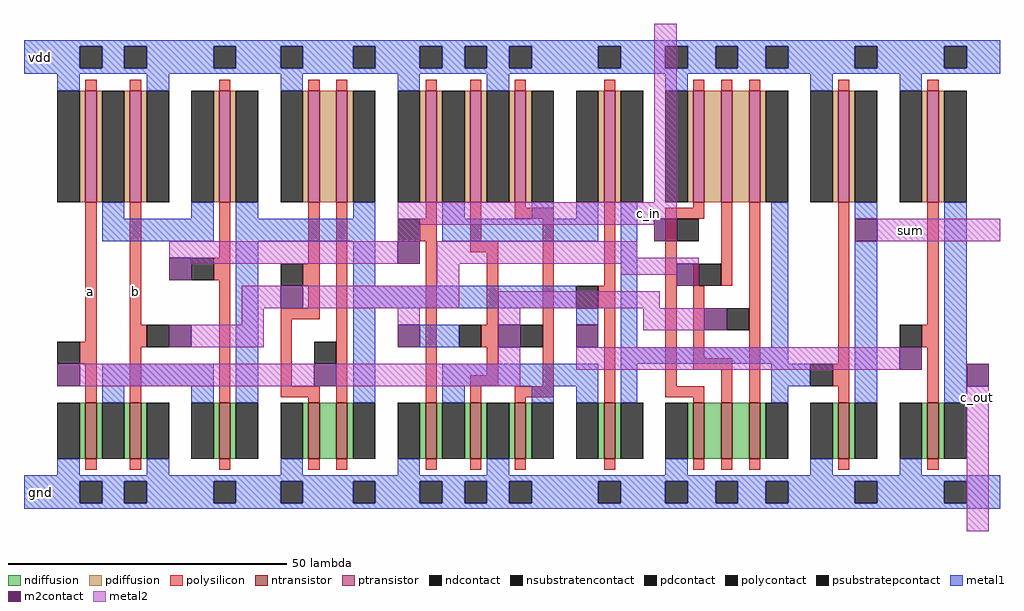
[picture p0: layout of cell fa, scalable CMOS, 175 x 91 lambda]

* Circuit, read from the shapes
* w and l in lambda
.subckt fa a b c_in c_out gnd sum vdd
M1 n1 a gnd gnd nfet w=10 l=2
M2 gnd b n1 gnd nfet w=10 l=2
M3 n2 c_in n1 gnd nfet w=10 l=2
M4 n3 b gnd gnd nfet w=10 l=2
M5 n2 a n3 gnd nfet w=10 l=2
M6 n4 c_in gnd gnd nfet w=10 l=2
M7 gnd b n4 gnd nfet w=10 l=2
M8 n4 a gnd gnd nfet w=10 l=2
M9 n5 n2 n4 gnd nfet w=10 l=2
M10 n6 c_in gnd gnd nfet w=10 l=2
M11 n7 b n6 gnd nfet w=10 l=2
M12 n5 a n7 gnd nfet w=10 l=2
M13 sum n5 gnd gnd nfet w=10 l=2
M14 c_out n2 gnd gnd nfet w=10 l=2
M15 n8 a vdd vdd pfet w=20 l=2
M16 vdd b n8 vdd pfet w=20 l=2
M17 n2 c_in n8 vdd pfet w=20 l=2
M18 n9 b vdd vdd pfet w=20 l=2
M19 n2 a n9 vdd pfet w=20 l=2
M20 n10 c_in vdd vdd pfet w=20 l=2
M21 vdd b n10 vdd pfet w=20 l=2
M22 n10 a vdd vdd pfet w=20 l=2
M23 n5 n2 n10 vdd pfet w=20 l=2
M24 n11 c_in vdd vdd pfet w=20 l=2
M25 n12 b n11 vdd pfet w=20 l=2
M26 n5 a n12 vdd pfet w=20 l=2
M27 sum n5 vdd vdd pfet w=20 l=2
M28 c_out n2 vdd vdd pfet w=20 l=2
.ends

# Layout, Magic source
magic
tech scmos
<< ntransistor >>
rect 11 9 13 19
rect 19 9 21 19
rect 35 9 37 19
rect 51 9 53 19
rect 56 9 58 19
rect 72 9 74 19
rect 80 9 82 19
rect 88 9 90 19
rect 104 9 106 19
rect 120 9 122 19
rect 125 9 127 19
rect 130 9 132 19
rect 146 9 148 19
rect 162 9 164 19
<< ptransistor >>
rect 11 55 13 75
rect 19 55 21 75
rect 35 55 37 75
rect 51 55 53 75
rect 56 55 58 75
rect 72 55 74 75
rect 80 55 82 75
rect 88 55 90 75
rect 104 55 106 75
rect 120 55 122 75
rect 125 55 127 75
rect 130 55 132 75
rect 146 55 148 75
rect 162 55 164 75
<< ndiffusion >>
rect 10 9 11 19
rect 13 9 14 19
rect 18 9 19 19
rect 21 9 22 19
rect 34 9 35 19
rect 37 9 38 19
rect 50 9 51 19
rect 53 9 56 19
rect 58 9 59 19
rect 71 9 72 19
rect 74 9 75 19
rect 79 9 80 19
rect 82 9 83 19
rect 87 9 88 19
rect 90 9 91 19
rect 103 9 104 19
rect 106 9 107 19
rect 119 9 120 19
rect 122 9 125 19
rect 127 9 130 19
rect 132 9 133 19
rect 145 9 146 19
rect 148 9 149 19
rect 161 9 162 19
rect 164 9 165 19
<< pdiffusion >>
rect 10 55 11 75
rect 13 55 14 75
rect 18 55 19 75
rect 21 55 22 75
rect 34 55 35 75
rect 37 55 38 75
rect 50 55 51 75
rect 53 55 56 75
rect 58 55 59 75
rect 71 55 72 75
rect 74 55 75 75
rect 79 55 80 75
rect 82 55 83 75
rect 87 55 88 75
rect 90 55 91 75
rect 103 55 104 75
rect 106 55 107 75
rect 119 55 120 75
rect 122 55 125 75
rect 127 55 130 75
rect 132 55 133 75
rect 145 55 146 75
rect 148 55 149 75
rect 161 55 162 75
rect 164 55 165 75
<< ndcontact >>
rect 6 9 10 19
rect 14 9 18 19
rect 22 9 26 19
rect 30 9 34 19
rect 38 9 42 19
rect 46 9 50 19
rect 59 9 63 19
rect 67 9 71 19
rect 75 9 79 19
rect 83 9 87 19
rect 91 9 95 19
rect 99 9 103 19
rect 107 9 111 19
rect 115 9 119 19
rect 133 9 137 19
rect 141 9 145 19
rect 149 9 153 19
rect 157 9 161 19
rect 165 9 169 19
<< pdcontact >>
rect 6 55 10 75
rect 14 55 18 75
rect 22 55 26 75
rect 30 55 34 75
rect 38 55 42 75
rect 46 55 50 75
rect 59 55 63 75
rect 67 55 71 75
rect 75 55 79 75
rect 83 55 87 75
rect 91 55 95 75
rect 99 55 103 75
rect 107 55 111 75
rect 115 55 119 75
rect 133 55 137 75
rect 141 55 145 75
rect 149 55 153 75
rect 157 55 161 75
rect 165 55 169 75
<< psubstratepcontact >>
rect 10 1 14 5
rect 18 1 22 5
rect 34 1 38 5
rect 46 1 50 5
rect 59 1 63 5
rect 71 1 75 5
rect 79 1 83 5
rect 87 1 91 5
rect 103 1 107 5
rect 115 1 119 5
rect 124 1 128 5
rect 133 1 137 5
rect 149 1 153 5
rect 165 1 169 5
<< nsubstratencontact >>
rect 10 79 14 83
rect 18 79 22 83
rect 34 79 38 83
rect 46 79 50 83
rect 59 79 63 83
rect 71 79 75 83
rect 79 79 83 83
rect 87 79 91 83
rect 103 79 107 83
rect 115 79 119 83
rect 124 79 128 83
rect 133 79 137 83
rect 149 79 153 83
rect 165 79 169 83
<< polysilicon >>
rect 11 75 13 77
rect 19 75 21 77
rect 35 75 37 77
rect 51 75 53 77
rect 56 75 58 77
rect 72 75 74 77
rect 80 75 82 77
rect 88 75 90 77
rect 104 75 106 77
rect 120 75 122 77
rect 125 75 127 77
rect 130 75 132 77
rect 146 75 148 77
rect 162 75 164 77
rect 11 30 13 55
rect 10 26 13 30
rect 11 19 13 26
rect 19 33 21 55
rect 35 45 37 55
rect 34 41 37 45
rect 51 44 53 55
rect 19 29 22 33
rect 19 19 21 29
rect 35 19 37 41
rect 50 40 53 44
rect 51 36 53 40
rect 46 34 53 36
rect 46 22 48 34
rect 46 20 53 22
rect 51 19 53 20
rect 56 19 58 55
rect 72 52 74 55
rect 71 48 74 52
rect 72 19 74 48
rect 80 48 82 55
rect 88 54 90 55
rect 88 52 95 54
rect 80 46 85 48
rect 83 33 85 46
rect 82 29 85 33
rect 83 24 85 29
rect 80 22 85 24
rect 93 22 95 52
rect 104 40 106 55
rect 120 54 122 55
rect 103 36 106 40
rect 80 19 82 22
rect 88 20 95 22
rect 88 19 90 20
rect 104 19 106 36
rect 115 52 122 54
rect 115 22 117 52
rect 120 40 121 44
rect 125 40 127 55
rect 120 27 122 40
rect 120 25 127 27
rect 115 20 122 22
rect 120 19 122 20
rect 125 19 127 25
rect 130 19 132 55
rect 146 26 148 55
rect 162 33 164 55
rect 161 29 164 33
rect 145 22 148 26
rect 146 19 148 22
rect 162 19 164 29
rect 11 7 13 9
rect 19 7 21 9
rect 35 7 37 9
rect 51 7 53 9
rect 56 7 58 9
rect 72 7 74 9
rect 80 7 82 9
rect 88 7 90 9
rect 104 7 106 9
rect 120 7 122 9
rect 125 7 127 9
rect 130 7 132 9
rect 146 7 148 9
rect 162 7 164 9
<< polycontact >>
rect 6 26 10 30
rect 30 41 34 45
rect 22 29 26 33
rect 46 40 50 44
rect 52 26 56 30
rect 67 48 71 52
rect 78 29 82 33
rect 89 29 93 33
rect 99 36 103 40
rect 117 48 121 52
rect 121 40 125 44
rect 126 32 130 36
rect 157 29 161 33
rect 141 22 145 26
<< metal1 >>
rect 0 83 175 84
rect 0 79 10 83
rect 14 79 18 83
rect 22 79 34 83
rect 38 79 46 83
rect 50 79 59 83
rect 63 79 71 83
rect 75 79 79 83
rect 83 79 87 83
rect 91 79 103 83
rect 107 79 115 83
rect 119 79 124 83
rect 128 79 133 83
rect 137 79 149 83
rect 153 79 165 83
rect 169 79 175 83
rect 0 78 175 79
rect 6 75 10 78
rect 22 75 26 78
rect 46 75 50 78
rect 67 75 71 78
rect 83 75 87 78
rect 115 75 119 78
rect 141 75 145 78
rect 157 75 161 78
rect 14 52 18 55
rect 30 52 34 55
rect 14 48 34 52
rect 38 52 42 55
rect 59 52 63 55
rect 75 52 79 55
rect 91 52 95 55
rect 99 52 103 55
rect 38 48 63 52
rect 14 22 34 26
rect 14 19 18 22
rect 30 19 34 22
rect 38 19 42 48
rect 59 40 63 48
rect 75 48 103 52
rect 59 36 99 40
rect 59 19 63 36
rect 99 33 103 36
rect 71 29 78 33
rect 107 29 110 55
rect 134 29 137 55
rect 107 26 137 29
rect 149 52 153 55
rect 75 22 103 26
rect 75 19 79 22
rect 91 19 95 22
rect 99 19 103 22
rect 107 19 110 26
rect 134 22 141 26
rect 134 19 137 22
rect 149 19 153 48
rect 165 19 169 55
rect 6 6 10 9
rect 22 6 26 9
rect 46 6 50 9
rect 67 6 71 9
rect 83 6 87 9
rect 115 6 119 9
rect 141 6 145 9
rect 157 6 161 9
rect 0 5 175 6
rect 0 1 10 5
rect 14 1 18 5
rect 22 1 34 5
rect 38 1 46 5
rect 50 1 59 5
rect 63 1 71 5
rect 75 1 79 5
rect 83 1 87 5
rect 91 1 103 5
rect 107 1 115 5
rect 119 1 124 5
rect 128 1 133 5
rect 137 1 149 5
rect 153 1 165 5
rect 169 1 175 5
rect 0 0 175 1
<< m2contact >>
rect 26 41 30 45
rect 26 29 30 33
rect 6 22 10 26
rect 46 36 50 40
rect 67 44 71 48
rect 52 22 56 26
rect 67 29 71 33
rect 85 29 89 33
rect 99 29 103 33
rect 113 48 117 52
rect 117 40 121 44
rect 122 32 126 36
rect 149 48 153 52
rect 157 25 161 29
rect 169 22 173 26
<< metal2 >>
rect 113 55 117 87
rect 67 52 117 55
rect 67 51 113 52
rect 67 48 71 51
rect 153 48 175 52
rect 26 45 67 48
rect 30 44 67 45
rect 74 45 110 48
rect 74 44 121 45
rect 74 40 78 44
rect 107 42 117 44
rect 39 36 46 40
rect 50 36 78 40
rect 85 36 114 39
rect 39 33 43 36
rect 30 29 43 33
rect 67 33 71 36
rect 85 33 89 36
rect 85 26 89 29
rect 10 22 52 26
rect 56 22 89 26
rect 111 32 122 36
rect 99 25 157 29
rect 169 -4 173 22
<< labels >>
rlabel metal1 3 81 3 81 4 vdd
rlabel metal1 3 3 3 3 3 gnd
rlabel polysilicon 12 39 12 39 1 a
rlabel polysilicon 20 39 20 39 1 b
rlabel metal2 112 53 112 53 5 c_in
rlabel metal2 159 50 159 50 7 sum
rlabel metal2 171 20 171 20 8 c_out
<< end >>
